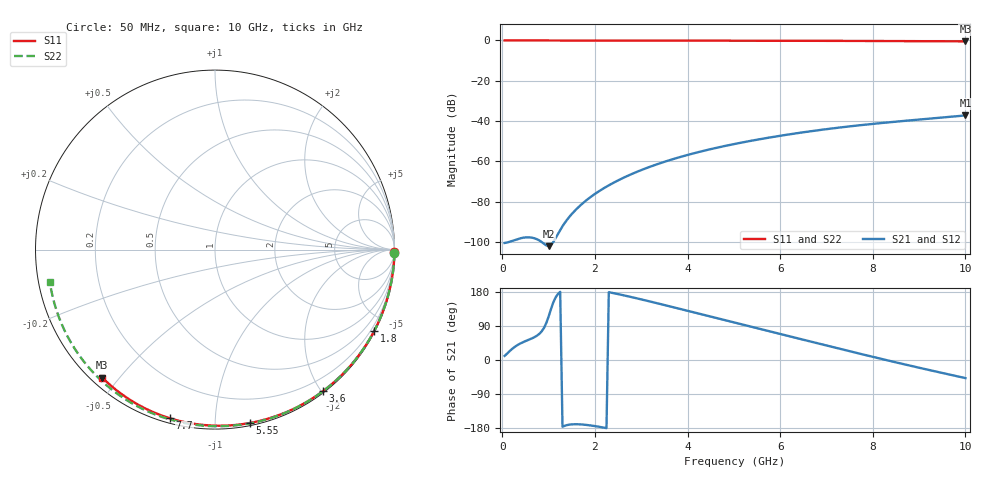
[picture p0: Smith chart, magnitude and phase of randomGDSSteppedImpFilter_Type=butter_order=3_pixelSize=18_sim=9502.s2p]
! freq	dB(S11)	phase(S11)	dB(S12)	phase(S12)
!  dB(S21)	phase(S21)	dB(S22)	phase(S22)
!S-par simulation data
#  GHz  S  DB  R 50
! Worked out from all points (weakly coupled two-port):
!   200 points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, 50 MHz to 10 GHz, reference 50 ohm
!   highest |S21| = -37.22 dB at 10 GHz (marker M1); lowest = -102.1 dB at 1 GHz (marker M2)
!   lowest |S11| = -0.4 dB at 10 GHz (marker M3), VSWR 39.26, Z = 1.53 - j22.6 ohm
!   |S11| at or under -10 dB: nowhere
!   |S22| runs from -0.6 to 0.0 dB; largest |S21 - S12| = 0
!   S11 on the Smith chart (normalised r, x): 50 MHz: open; 1.8 GHz: 0.04, -4.18; 3.6 GHz: 0.02, -2.02; 5.55 GHz: 0.02, -1.22; 7.7 GHz: 0.02, -0.77; 10 GHz: 0.03, -0.45
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0.05  -0.00 -0.8  -100.52 10.8  -100.52 10.8  -0.00 -1.0
0.5  -0.01 -7.6  -97.77 49.8  -97.77 49.8  -0.01 -9.6
1  -0.02 -15.1  -102.11 114.5  -102.11 114.5  -0.02 -19.2
1.75  -0.03 -26.2  -80.56 -170.5  -80.56 -170.5  -0.04 -33.2
1.8  -0.03 -26.9  -79.61 -171.1  -79.61 -171.1  -0.04 -34.1
1.95  -0.04 -29.1  -76.99 -173.4  -76.99 -173.4  -0.05 -36.9
2.1  -0.04 -31.3  -74.66 -176.4  -74.66 -176.4  -0.05 -39.7
2.3  -0.04 -34.2  -71.91 179.0  -71.91 179.0  -0.06 -43.3
2.5  -0.05 -37.1  -69.46 173.9  -69.46 173.9  -0.06 -47.0
2.9  -0.06 -42.8  -65.27 162.9  -65.27 162.9  -0.07 -54.1
3.4  -0.07 -49.9  -60.99 148.1  -60.99 148.1  -0.08 -63.0
3.6  -0.07 -52.7  -59.50 142.1  -59.50 142.1  -0.09 -66.4
4.3  -0.09 -62.2  -55.05 120.6  -55.05 120.6  -0.11 -78.4
5.05  -0.11 -72.2  -51.22 97.6  -51.22 97.6  -0.14 -90.8
5.55  -0.13 -78.7  -49.06 82.4  -49.06 82.4  -0.16 -98.9
6.1  -0.15 -85.6  -46.95 65.6  -46.95 65.6  -0.19 -107.6
6.7  -0.18 -93.0  -44.94 47.4  -44.94 47.4  -0.23 -117.0
7.2  -0.21 -99.1  -43.45 32.2  -43.45 32.2  -0.27 -124.7
7.7  -0.24 -105.0  -42.14 17.2  -42.14 17.2  -0.31 -132.5
8.35  -0.29 -112.6  -40.63 -1.9  -40.63 -1.9  -0.37 -142.5
9.2  -0.36 -122.4  -38.87 -26.0  -38.87 -26.0  -0.46 -155.8
10  -0.44 -131.4  -37.22 -47.8  -37.22 -47.8  -0.56 -168.8
